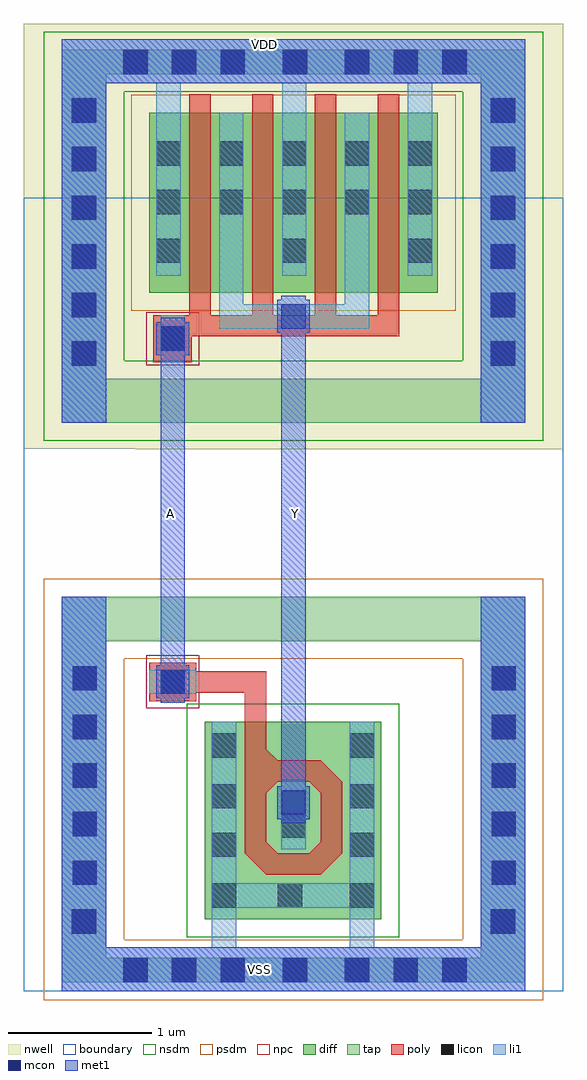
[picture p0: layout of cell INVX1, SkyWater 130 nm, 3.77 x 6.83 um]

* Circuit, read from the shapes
.subckt INVX1 A VDD VSS Y
XM1 VSS A Y VSS sky130_fd_pr__nfet_01v8 w=2.555 l=0.1493
XM2 Y A VDD VDD sky130_fd_pr__pfet_01v8 w=1.26 l=0.15 m=4
.ends

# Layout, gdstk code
from math import pi, radians
import gdstk
lib = gdstk.Library(unit=1e-6, precision=1e-09)
def R(c, l, rs):  # rectangles x0, y0, x1, y1
    for r in rs: c.add(gdstk.rectangle(r[:2], r[2:], *l))
def A(c, l, x, y, w, h, nx, ny, dx, dy):  # array of equal rectangles
    R(c, l, [(x+i*dx, y+j*dy, x+i*dx+w, y+j*dy+h) for i in range(nx) for j in range(ny)])
def P(c, l, *ps):  # polygons
    for p in ps: c.add(gdstk.Polygon(p, *l))
nwell = (64, 20)
diff = (65, 20)
tap = (65, 44)
poly = (66, 20)
licon = (66, 44)
li1 = (67, 20)
mcon = (67, 44)
met1 = (68, 20)
nsdm = (93, 44)
psdm = (94, 20)
npc = (95, 20)
boundary = (235, 4)

poly_li1_contact_para = lib.new_cell('poly_li1_contact_para')
R(poly_li1_contact_para, poly, [(0.35,1.995,0.62,2.325)])
R(poly_li1_contact_para, licon, [(0.4,2.075,0.57,2.245)])
R(poly_li1_contact_para, li1, [(0.4,1.995,0.57,2.325)])
R(poly_li1_contact_para, mcon, [(0.4,2.075,0.57,2.245)])
R(poly_li1_contact_para, met1, [(0.4,1.895,0.57,2.045), (0.37,2.045,0.6,2.275), (0.4,2.275,0.57,2.305)])
R(poly_li1_contact_para, npc, [(0.3,1.975,0.67,2.345)])

poly_li1_contact_perp = lib.new_cell('poly_li1_contact_perp')
R(poly_li1_contact_perp, poly, [(0.22,2.125,0.55,2.395)])
R(poly_li1_contact_perp, licon, [(0.3,2.175,0.47,2.345)])
R(poly_li1_contact_perp, li1, [(0.22,2.175,0.55,2.345)])
R(poly_li1_contact_perp, mcon, [(0.3,2.175,0.47,2.345)])
R(poly_li1_contact_perp, met1, [(0.3,1.995,0.47,2.145), (0.27,2.145,0.5,2.375), (0.3,2.375,0.47,2.405)])
R(poly_li1_contact_perp, npc, [(0.2,2.075,0.57,2.445)])

diff_ring_side = lib.new_cell('diff_ring_side')
R(diff_ring_side, nwell, [(-0.795,3.795,0.045,6.765)])
R(diff_ring_side, tap, [(-0.53,0.065,-0.22,2.76), (-0.53,3.975,-0.22,6.585)])
A(diff_ring_side, licon, -0.455, 0.745, 0.17, 0.17, 1, 5, 0, 0.34)
A(diff_ring_side, licon, -0.46, 4.375, 0.17, 0.17, 1, 6, 0, 0.34)
R(diff_ring_side, licon, [(-0.46,0.405,-0.29,0.575)])
R(diff_ring_side, li1, [(-0.53,0,-0.22,2.76), (-0.53,3.975,-0.22,6.66)])
A(diff_ring_side, mcon, -0.455, 0.745, 0.17, 0.17, 1, 5, 0, 0.34)
A(diff_ring_side, mcon, -0.46, 4.375, 0.17, 0.17, 1, 6, 0, 0.34)
R(diff_ring_side, mcon, [(-0.46,0.405,-0.29,0.575)])
R(diff_ring_side, met1, [(-0.53,0,-0.22,2.76), (-0.53,3.975,-0.22,6.66)])
R(diff_ring_side, nsdm, [(-0.655,3.85,-0.095,6.71)])
R(diff_ring_side, psdm, [(-0.655,-0.06,-0.095,2.885)])

pmos4 = lib.new_cell('pmos4')
R(pmos4, nwell, [(-0.18,-1.435,2.2,0.185)])
R(pmos4, diff, [(0,-1.255,2.02,0.005)])
A(pmos4, poly, 0.28, -1.41, 0.15, 1.545, 4, 1, 0.44, 0)
R(pmos4, poly, [(0.28,-1.56,1.75,-1.41)])
A(pmos4, licon, 0.05, -1.045, 0.17, 0.17, 3, 1, 0.88, 0)
A(pmos4, licon, 0.05, -0.705, 0.17, 0.17, 5, 2, 0.44, 0.34)
A(pmos4, li1, 0.05, -1.135, 0.17, 1.345, 3, 1, 0.88, 0)
R(pmos4, li1, [(0.49,-1.135,0.66,0.005), (1.37,-1.135,1.54,0.005)])
R(pmos4, psdm, [(-0.125,-1.38,2.145,0.13)])

li1_m1_contact_perp_ext = lib.new_cell('li1_M1_contact_perp_ext')
R(li1_m1_contact_perp_ext, li1, [(-0.085,-0.085,0.245,0.085)])
R(li1_m1_contact_perp_ext, mcon, [(-0.085,-0.085,0.085,0.085)])
R(li1_m1_contact_perp_ext, met1, [(-0.085,-0.265,0.085,-0.115), (-0.115,-0.115,0.115,0.115), (-0.085,0.115,0.085,0.145)])

nmos_top = lib.new_cell('nmos_top')
R(nmos_top, diff, [(-0.005,0,1.23,1.38)])
R(nmos_top, poly, [(0.42,0.31,0.8,0.46), (0.27,0.46,0.42,0.96), (0.8,0.46,0.95,0.96), (0.42,0.96,0.95,1.11), (0.8,1.11,0.95,1.545)])
P(nmos_top, poly, [(0.72,1.11),(0.8,1.11),(0.8,1.19)],
  [(0.27,0.96),(0.42,0.96),(0.42,1.11)],
  [(0.42,0.88),(0.42,0.96),(0.5,0.96)],
  [(0.72,0.96),(0.8,0.96),(0.8,0.88)],
  [(0.42,0.54),(0.42,0.46),(0.5,0.46)],
  [(0.72,0.46),(0.8,0.46),(0.8,0.54)],
  [(0.27,0.46),(0.42,0.46),(0.42,0.31)],
  [(0.8,0.31),(0.8,0.46),(0.95,0.46)])
R(nmos_top, licon, [(0.045,0.08,0.215,0.25), (0.55,0.08,0.72,0.25), (1.01,0.08,1.18,0.25), (0.045,0.435,0.215,0.605), (1.01,0.435,1.18,0.605), (0.525,0.57,0.695,0.74), (0.045,0.775,0.215,0.945), (1.01,0.775,1.18,0.945), (0.045,1.13,0.215,1.3), (1.01,1.13,1.18,1.3)])
R(nmos_top, li1, [(0.045,0,0.215,0.08), (1.01,0,1.18,0.08), (0.045,0.08,1.18,0.25), (0.045,0.25,0.215,1.38), (1.01,0.25,1.18,1.38), (0.525,0.49,0.695,0.82)])
R(nmos_top, nsdm, [(-0.13,-0.125,1.355,1.505)])

li1_m1_contact_para_cent = lib.new_cell('li1_M1_contact_para_cent')
R(li1_m1_contact_para_cent, li1, [(-0.085,-0.165,0.085,0.165)])
R(li1_m1_contact_para_cent, mcon, [(-0.085,-0.085,0.085,0.085)])
R(li1_m1_contact_para_cent, met1, [(-0.085,-0.145,0.085,-0.115), (-0.115,-0.115,0.115,0.115), (-0.085,0.115,0.085,0.265)])

invx1 = lib.new_cell('INVX1')
R(invx1, nwell, [(0.36,3.79,3.35,3.8), (0.08,3.8,3.35,3.805), (-0.335,3.805,3.35,6.76), (-0.42,6.76,3.35,6.765)])
R(invx1, tap, [(0.155,0.065,2.775,0.235), (0.155,2.45,2.78,2.76), (0.155,3.975,2.775,4.285), (0.155,6.415,2.78,6.585)])
R(invx1, poly, [(1.125,2.015,1.275,2.09), (0.735,2.09,1.275,2.24)])
A(invx1, licon, 0.275, 0.065, 0.17, 0.17, 3, 2, 0.34, 6.35)
A(invx1, licon, 1.825, 0.065, 0.17, 0.17, 3, 2, 0.34, 6.35)
R(invx1, licon, [(1.39,0.065,1.56,0.235), (1.39,6.415,1.56,6.585)])
R(invx1, li1, [(0.155,0,2.775,0.31), (0.895,0.31,1.065,0.505), (1.86,0.31,2.03,0.505), (0.945,4.635,1.995,4.805), (0.945,4.805,1.115,5.035), (1.825,4.805,1.995,5.005), (1.385,6.345,1.555,6.35), (0.155,6.35,2.78,6.66)])
A(invx1, mcon, 0.275, 0.065, 0.17, 0.17, 3, 2, 0.34, 6.35)
A(invx1, mcon, 1.825, 0.065, 0.17, 0.17, 3, 2, 0.34, 6.35)
R(invx1, mcon, [(1.39,0.065,1.56,0.235), (1.39,6.415,1.56,6.585)])
R(invx1, met1, [(0.155,0,2.775,0.31), (1.38,1.585,1.55,4.555), (0.535,2.28,0.705,4.445), (0.155,6.35,2.78,6.66)])
R(invx1, nsdm, [(0.03,3.85,2.9,4.41), (0.03,6.29,2.905,6.71)])
R(invx1, psdm, [(0.03,-0.06,2.9,0.36), (0.03,2.325,2.905,2.885)])
R(invx1, boundary, [(-0.42,0,3.35,5.55)])
invx1.add(gdstk.Reference(poly_li1_contact_para, (0.135,2.405)))
invx1.add(gdstk.Reference(poly_li1_contact_perp, (1.005,4.425), rotation=pi))
invx1.add(gdstk.Reference(diff_ring_side, (3.305,0)))
invx1.add(gdstk.Reference(diff_ring_side, (0.375,0)))
invx1.add(gdstk.Reference(pmos4, (0.455,6.14)))
invx1.add(gdstk.Reference(li1_m1_contact_perp_ext, (1.465,4.72)))
invx1.add(gdstk.Reference(nmos_top, (2.075,0.505), rotation=pi, x_reflection=True))
invx1.add(gdstk.Reference(li1_m1_contact_para_cent, (1.465,1.32)))
invx1.add(gdstk.Label('VSS', (1.225,0.155), layer=68, texttype=16))
invx1.add(gdstk.Label('VDD', (1.265,6.625), layer=68, texttype=16))
invx1.add(gdstk.Label('A', (0.605,3.34), layer=68, texttype=16))
invx1.add(gdstk.Label('Y', (1.48,3.34), layer=68, texttype=16))

lib.write_gds('INVX1.gds')
